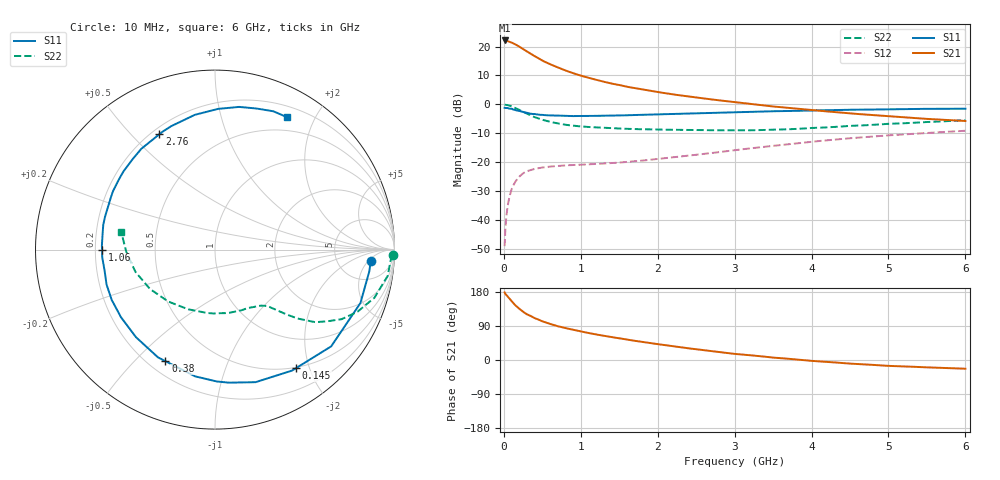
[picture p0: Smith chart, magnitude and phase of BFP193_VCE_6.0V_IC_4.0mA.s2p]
! Infineon Technologies  Discrete & RF Semiconductors
! BFP193
! VCE = 6.0 V,  IC =  4.0 mA
! Common Emitter S-Parameters:  Jan 2016
# GHz  S  MA  R  50
!  f  S11  S21  S12  S22
! GHz  MAG  ANG  MAG  ANG  MAG  ANG  MAG  ANG
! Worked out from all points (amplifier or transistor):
!   210 points, 10 MHz to 6 GHz, reference 50 ohm
!   highest |S21| = 22.1 dB at 10 MHz (marker M1)
!   |S21| within 3 dB of that: start of sweep to 251.6 MHz
!   unconditionally stable (mu >= 1): 1.373 GHz to 3.562 GHz
!   at 185 MHz: K = 0.18, MSG = 22.9 dB, |S12| = -25.6 dB
!   at 1.52 GHz: K = 1.06, MAG = 11.9 dB, |S12| = -20.1 dB
!   at 6 GHz: K = 0.90, MSG = 1.7 dB, |S12| = -9.1 dB
!   S11 on the Smith chart (normalised r, x): 10 MHz: 11, -6; 145 MHz: 0.49, -1.79; 380 MHz: 0.27, -0.62; 1.06 GHz: 0.23, -0.00; 2.76 GHz: 0.23, +0.60; 6 GHz: 0.33, +1.64
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0.01  0.8702 -4.2  12.78 178.3  0.0035 88.6  0.9906 -1.8
0.02  0.8681 -8.1  12.61 174.5  0.0069 85.7  0.9807 -3.4
0.05  0.8632 -20.2  12.44 167.3  0.0174 79.1  0.9731 -8.7
0.1  0.8424 -39.8  11.82 155.6  0.0335 70.1  0.9279 -16.8
0.145  0.7999 -55.7  11.01 145.3  0.0447 61.4  0.8723 -22.8
0.2  0.7724 -73.0  10.05 135.4  0.0557 54.2  0.8049 -28.8
0.24  0.7454 -84.0  9.251 128.9  0.0623 49.0  0.7541 -31.8
0.3  0.7148 -98.9  8.243 120.6  0.0696 44.3  0.6898 -35.9
0.38  0.6801 -114.0  7.103 112.8  0.0748 38.8  0.6177 -38.9
0.4  0.6792 -117.9  6.843 110.5  0.0762 37.6  0.6 -39.8
0.5  0.6573 -132.0  5.711 102.1  0.0806 33.8  0.5404 -42.1
0.6  0.6452 -144.3  4.955 95.1  0.0837 31.0  0.4979 -43.7
0.8  0.6348 -162.2  3.863 84.2  0.0877 28.6  0.4431 -46.3
1.02  0.6293 -177.2  3.087 74.5  0.0903 28.8  0.4132 -49.1
1.06  0.6294 -179.7  2.984 72.9  0.0908 28.9  0.4094 -49.7
1.4  0.6396 163.1  2.29 60.5  0.0958 31.4  0.3878 -55.3
2.02  0.6714 138.7  1.618 41.3  0.1137 37.5  0.3659 -68.6
2.76  0.7144 115.7  1.191 22.0  0.1468 41.3  0.3557 -89.5
3.1  0.7335 107.2  1.056 14.4  0.1667 41.1  0.3551 -100.6
4.1  0.7874 87.0  0.775 -3.6  0.2318 35.3  0.3935 -135.7
5.1  0.822 72.3  0.609 -16.2  0.296 24.5  0.4647 -167.3
6  0.8398 61.4  0.515 -23.0  0.3488 13.5  0.5326 169.1
